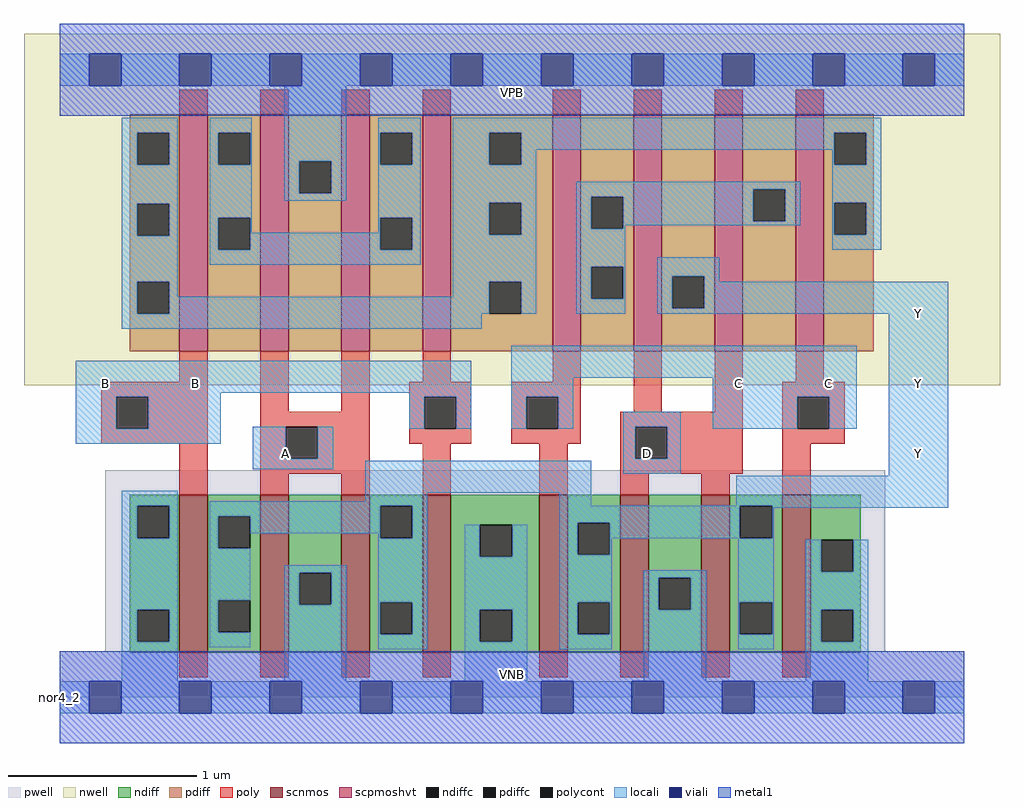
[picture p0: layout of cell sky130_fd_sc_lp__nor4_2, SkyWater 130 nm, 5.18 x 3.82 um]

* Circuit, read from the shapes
.subckt sky130_fd_sc_lp__nor4_2 A B C D VGND VNB VPB VPWR Y
XM1 Y B VGND VNB sky130_fd_pr__nfet_01v8 w=0.84 l=0.15 m=2
XM2 VGND A Y VNB sky130_fd_pr__nfet_01v8 w=0.84 l=0.15 m=2
XM3 Y C VGND VNB sky130_fd_pr__nfet_01v8 w=0.84 l=0.15 m=2
XM4 VGND D Y VNB sky130_fd_pr__nfet_01v8 w=0.84 l=0.15 m=2
XM5 n1 B n2 VPB sky130_fd_pr__pfet_01v8_hvt w=1.26 l=0.15 m=2
XM6 VPWR A n1 VPB sky130_fd_pr__pfet_01v8_hvt w=1.26 l=0.15 m=2
XM7 n3 C n2 VPB sky130_fd_pr__pfet_01v8_hvt w=1.26 l=0.15 m=2
XM8 Y D n3 VPB sky130_fd_pr__pfet_01v8_hvt w=1.26 l=0.15 m=2
.ends

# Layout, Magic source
magic
tech sky130A
magscale 1 2
<< nwell >>
rect -38 331 998 704
<< pwell >>
rect 48 49 876 241
rect 0 0 960 49
<< scnmos >>
rect 127 47 157 215
rect 213 47 243 215
rect 299 47 329 215
rect 385 47 415 215
rect 509 47 539 215
rect 595 47 625 215
rect 681 47 711 215
rect 767 47 797 215
<< scpmoshvt >>
rect 127 367 157 619
rect 213 367 243 619
rect 299 367 329 619
rect 385 367 415 619
rect 523 367 553 619
rect 609 367 639 619
rect 695 367 725 619
rect 781 367 811 619
<< ndiff >>
rect 74 203 127 215
rect 74 169 82 203
rect 116 169 127 203
rect 74 93 127 169
rect 74 59 82 93
rect 116 59 127 93
rect 74 47 127 59
rect 157 192 213 215
rect 157 158 168 192
rect 202 158 213 192
rect 157 103 213 158
rect 157 69 168 103
rect 202 69 213 103
rect 157 47 213 69
rect 243 132 299 215
rect 243 98 254 132
rect 288 98 299 132
rect 243 47 299 98
rect 329 203 385 215
rect 329 169 340 203
rect 374 169 385 203
rect 329 101 385 169
rect 329 67 340 101
rect 374 67 385 101
rect 329 47 385 67
rect 415 183 509 215
rect 415 149 446 183
rect 480 149 509 183
rect 415 93 509 149
rect 415 59 446 93
rect 480 59 509 93
rect 415 47 509 59
rect 539 185 595 215
rect 539 151 550 185
rect 584 151 595 185
rect 539 101 595 151
rect 539 67 550 101
rect 584 67 595 101
rect 539 47 595 67
rect 625 127 681 215
rect 625 93 636 127
rect 670 93 681 127
rect 625 47 681 93
rect 711 203 767 215
rect 711 169 722 203
rect 756 169 767 203
rect 711 101 767 169
rect 711 67 722 101
rect 756 67 767 101
rect 711 47 767 67
rect 797 167 850 215
rect 797 133 808 167
rect 842 133 850 167
rect 797 93 850 133
rect 797 59 808 93
rect 842 59 850 93
rect 797 47 850 59
<< pdiff >>
rect 74 599 127 619
rect 74 565 82 599
rect 116 565 127 599
rect 74 524 127 565
rect 74 490 82 524
rect 116 490 127 524
rect 74 441 127 490
rect 74 407 82 441
rect 116 407 127 441
rect 74 367 127 407
rect 157 599 213 619
rect 157 565 168 599
rect 202 565 213 599
rect 157 509 213 565
rect 157 475 168 509
rect 202 475 213 509
rect 157 367 213 475
rect 243 569 299 619
rect 243 535 254 569
rect 288 535 299 569
rect 243 367 299 535
rect 329 599 385 619
rect 329 565 340 599
rect 374 565 385 599
rect 329 509 385 565
rect 329 475 340 509
rect 374 475 385 509
rect 329 367 385 475
rect 415 599 523 619
rect 415 565 456 599
rect 490 565 523 599
rect 415 525 523 565
rect 415 491 456 525
rect 490 491 523 525
rect 415 441 523 491
rect 415 407 456 441
rect 490 407 523 441
rect 415 367 523 407
rect 553 531 609 619
rect 553 497 564 531
rect 598 497 609 531
rect 553 457 609 497
rect 553 423 564 457
rect 598 423 609 457
rect 553 367 609 423
rect 639 447 695 619
rect 639 413 650 447
rect 684 413 695 447
rect 639 367 695 413
rect 725 539 781 619
rect 725 505 736 539
rect 770 505 781 539
rect 725 367 781 505
rect 811 599 864 619
rect 811 565 822 599
rect 856 565 864 599
rect 811 525 864 565
rect 811 491 822 525
rect 856 491 864 525
rect 811 367 864 491
<< ndiffc >>
rect 82 169 116 203
rect 82 59 116 93
rect 168 158 202 192
rect 168 69 202 103
rect 254 98 288 132
rect 340 169 374 203
rect 340 67 374 101
rect 446 149 480 183
rect 446 59 480 93
rect 550 151 584 185
rect 550 67 584 101
rect 636 93 670 127
rect 722 169 756 203
rect 722 67 756 101
rect 808 133 842 167
rect 808 59 842 93
<< pdiffc >>
rect 82 565 116 599
rect 82 490 116 524
rect 82 407 116 441
rect 168 565 202 599
rect 168 475 202 509
rect 254 535 288 569
rect 340 565 374 599
rect 340 475 374 509
rect 456 565 490 599
rect 456 491 490 525
rect 456 407 490 441
rect 564 497 598 531
rect 564 423 598 457
rect 650 413 684 447
rect 736 505 770 539
rect 822 565 856 599
rect 822 491 856 525
<< poly >>
rect 127 619 157 645
rect 213 619 243 645
rect 299 619 329 645
rect 385 619 415 645
rect 523 619 553 645
rect 609 619 639 645
rect 695 619 725 645
rect 781 619 811 645
rect 127 335 157 367
rect 44 319 157 335
rect 44 285 60 319
rect 94 285 157 319
rect 44 269 157 285
rect 127 215 157 269
rect 213 303 243 367
rect 299 303 329 367
rect 385 335 415 367
rect 523 335 553 367
rect 213 287 329 303
rect 213 253 240 287
rect 274 253 329 287
rect 371 319 437 335
rect 371 285 387 319
rect 421 285 437 319
rect 371 269 437 285
rect 479 319 553 335
rect 479 285 495 319
rect 529 285 553 319
rect 609 303 639 367
rect 695 303 725 367
rect 781 335 811 367
rect 479 269 553 285
rect 595 287 725 303
rect 213 237 329 253
rect 213 215 243 237
rect 299 215 329 237
rect 385 215 415 269
rect 509 215 539 269
rect 595 253 611 287
rect 645 253 725 287
rect 595 237 725 253
rect 767 319 833 335
rect 767 285 783 319
rect 817 285 833 319
rect 767 269 833 285
rect 595 215 625 237
rect 681 215 711 237
rect 767 215 797 269
rect 127 21 157 47
rect 213 21 243 47
rect 299 21 329 47
rect 385 21 415 47
rect 509 21 539 47
rect 595 21 625 47
rect 681 21 711 47
rect 767 21 797 47
<< polycont >>
rect 60 285 94 319
rect 240 253 274 287
rect 387 285 421 319
rect 495 285 529 319
rect 611 253 645 287
rect 783 285 817 319
<< locali >>
rect 0 649 31 683
rect 65 649 127 683
rect 161 649 223 683
rect 257 649 319 683
rect 353 649 415 683
rect 449 649 511 683
rect 545 649 607 683
rect 641 649 703 683
rect 737 649 799 683
rect 833 649 895 683
rect 929 649 960 683
rect 66 599 125 615
rect 66 565 82 599
rect 116 565 125 599
rect 66 524 125 565
rect 66 490 82 524
rect 116 490 125 524
rect 66 441 125 490
rect 159 599 204 615
rect 159 565 168 599
rect 202 565 204 599
rect 159 509 204 565
rect 238 569 304 649
rect 238 535 254 569
rect 288 535 304 569
rect 238 527 304 535
rect 338 599 383 615
rect 338 565 340 599
rect 374 565 383 599
rect 159 475 168 509
rect 202 493 204 509
rect 338 509 383 565
rect 338 493 340 509
rect 202 475 340 493
rect 374 475 383 509
rect 159 459 383 475
rect 417 599 872 615
rect 417 565 456 599
rect 490 581 822 599
rect 490 565 506 581
rect 417 525 506 565
rect 820 565 822 581
rect 856 565 872 599
rect 417 491 456 525
rect 490 491 506 525
rect 66 407 82 441
rect 116 425 125 441
rect 417 441 506 491
rect 417 425 456 441
rect 116 407 456 425
rect 490 407 506 441
rect 548 539 786 547
rect 548 531 736 539
rect 548 497 564 531
rect 598 505 736 531
rect 770 505 786 539
rect 598 501 786 505
rect 820 525 872 565
rect 598 497 600 501
rect 548 457 600 497
rect 820 491 822 525
rect 856 491 872 525
rect 820 475 872 491
rect 548 423 564 457
rect 598 423 600 457
rect 548 407 600 423
rect 634 447 700 467
rect 634 413 650 447
rect 684 441 700 447
rect 684 413 943 441
rect 634 407 943 413
rect 66 391 448 407
rect 17 323 437 357
rect 17 319 171 323
rect 17 285 60 319
rect 94 285 171 319
rect 371 319 437 323
rect 17 269 171 285
rect 205 253 240 287
rect 274 253 290 287
rect 371 285 387 319
rect 421 285 437 319
rect 479 339 846 373
rect 479 319 545 339
rect 479 285 495 319
rect 529 285 545 319
rect 693 319 846 339
rect 598 287 659 303
rect 205 242 290 253
rect 598 253 611 287
rect 645 253 659 287
rect 693 285 783 319
rect 817 285 846 319
rect 66 203 125 219
rect 324 217 564 251
rect 598 237 659 253
rect 880 235 943 407
rect 324 208 390 217
rect 66 169 82 203
rect 116 169 125 203
rect 66 93 125 169
rect 66 59 82 93
rect 116 59 125 93
rect 66 17 125 59
rect 159 203 390 208
rect 159 192 340 203
rect 159 158 168 192
rect 202 174 340 192
rect 159 103 202 158
rect 338 169 340 174
rect 374 169 390 203
rect 530 203 564 217
rect 718 203 943 235
rect 530 185 722 203
rect 159 69 168 103
rect 159 53 202 69
rect 238 132 304 140
rect 238 98 254 132
rect 288 98 304 132
rect 238 17 304 98
rect 338 101 390 169
rect 338 67 340 101
rect 374 67 390 101
rect 338 51 390 67
rect 430 149 446 183
rect 480 149 496 183
rect 430 93 496 149
rect 430 59 446 93
rect 480 59 496 93
rect 430 17 496 59
rect 530 151 550 185
rect 584 169 722 185
rect 756 201 943 203
rect 756 169 758 201
rect 584 151 586 169
rect 530 101 586 151
rect 530 67 550 101
rect 584 67 586 101
rect 530 51 586 67
rect 620 127 686 135
rect 620 93 636 127
rect 670 93 686 127
rect 620 17 686 93
rect 720 101 758 169
rect 720 67 722 101
rect 756 67 758 101
rect 720 51 758 67
rect 792 133 808 167
rect 842 133 858 167
rect 792 93 858 133
rect 792 59 808 93
rect 842 59 858 93
rect 792 17 858 59
rect 0 -17 31 17
rect 65 -17 127 17
rect 161 -17 223 17
rect 257 -17 319 17
rect 353 -17 415 17
rect 449 -17 511 17
rect 545 -17 607 17
rect 641 -17 703 17
rect 737 -17 799 17
rect 833 -17 895 17
rect 929 -17 960 17
<< viali >>
rect 31 649 65 683
rect 127 649 161 683
rect 223 649 257 683
rect 319 649 353 683
rect 415 649 449 683
rect 511 649 545 683
rect 607 649 641 683
rect 703 649 737 683
rect 799 649 833 683
rect 895 649 929 683
rect 31 -17 65 17
rect 127 -17 161 17
rect 223 -17 257 17
rect 319 -17 353 17
rect 415 -17 449 17
rect 511 -17 545 17
rect 607 -17 641 17
rect 703 -17 737 17
rect 799 -17 833 17
rect 895 -17 929 17
<< metal1 >>
rect 0 683 960 715
rect 0 649 31 683
rect 65 649 127 683
rect 161 649 223 683
rect 257 649 319 683
rect 353 649 415 683
rect 449 649 511 683
rect 545 649 607 683
rect 641 649 703 683
rect 737 649 799 683
rect 833 649 895 683
rect 929 649 960 683
rect 0 617 960 649
rect 0 17 960 49
rect 0 -17 31 17
rect 65 -17 127 17
rect 161 -17 223 17
rect 257 -17 319 17
rect 353 -17 415 17
rect 449 -17 511 17
rect 545 -17 607 17
rect 641 -17 703 17
rect 737 -17 799 17
rect 833 -17 895 17
rect 929 -17 960 17
rect 0 -49 960 -17
<< labels >>
flabel pwell s 0 0 960 49 0 FreeSans 200 0 0 0 VNB
port 6 nsew ground bidirectional
flabel nwell s 0 617 960 666 0 FreeSans 200 0 0 0 VPB
port 7 nsew power bidirectional
rlabel comment s 0 0 0 0 4 nor4_2
flabel metal1 s 0 617 960 666 0 FreeSans 340 0 0 0 VPWR
port 8 nsew power bidirectional
flabel metal1 s 0 0 960 49 0 FreeSans 340 0 0 0 VGND
port 5 nsew ground bidirectional
flabel locali s 223 242 257 276 0 FreeSans 340 0 0 0 A
port 1 nsew signal input
flabel locali s 31 316 65 350 0 FreeSans 340 0 0 0 B
port 2 nsew signal input
flabel locali s 127 316 161 350 0 FreeSans 340 0 0 0 B
port 2 nsew signal input
flabel locali s 607 242 641 276 0 FreeSans 340 0 0 0 D
port 4 nsew signal input
flabel locali s 703 316 737 350 0 FreeSans 340 0 0 0 C
port 3 nsew signal input
flabel locali s 799 316 833 350 0 FreeSans 340 0 0 0 C
port 3 nsew signal input
flabel locali s 895 316 929 350 0 FreeSans 340 0 0 0 Y
port 9 nsew signal output
flabel locali s 895 390 929 424 0 FreeSans 340 0 0 0 Y
port 9 nsew signal output
flabel locali s 895 242 929 276 0 FreeSans 340 0 0 0 Y
port 9 nsew signal output
<< properties >>
string LEFsite unit
string LEFclass CORE
string FIXED_BBOX 0 0 960 666
string GDS_FILE $PDKPATH/libs.ref/sky130_fd_sc_lp/gds/sky130_fd_sc_lp.gds
string LEFsymmetry X Y R90
string GDS_END 4181650
string GDS_START 4173320
<< end >>
